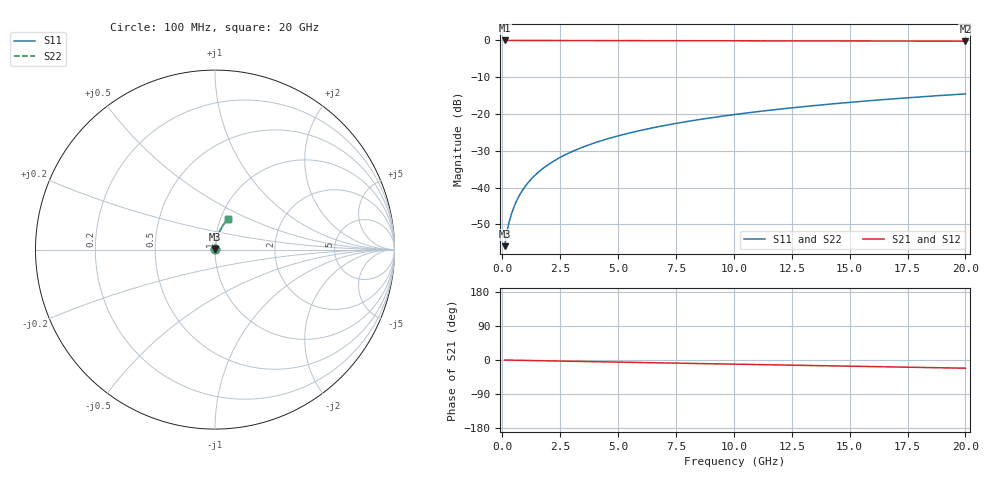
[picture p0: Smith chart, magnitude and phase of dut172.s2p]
! Touchstone file exported from HFSS 2026.1.0
!  File:  C:/ffzhzh/LocalFiles/Ansys_Project_Files/temp_train_BSMRDL_172_1782987016_40604.aedt
!  Generated:  06:11:30 PM Jul  2, 2026
!  Design:  BSMRDL
!  Project:  temp_train_BSMRDL_172_1782987016_40604
! Variables:
!  h_bsmrdl = 4.59um
!  h_ox = 20um
!  h_rdl = 5um
!  h_sub = 80um
!  h_tmrdl = 5um
!  h_tsv = 80um
!  h_via = 3um
!  l_bsmrdl = 301.66um
!  l_sub = 701.66um
!  l_tmrdl = 200um
!  m_sub = 200um
!  pitch = 47.98um
!  r_tsv = 6um
!  s_tmrdl = 10um
!  w_bsmrdl = 25.23um
!  w_sub = 500um
!  w_tmrdl = 12um
!  x_tsv_center1 = 206um
!  x_tsv_center2 = 532.89um
!  x_tsv_center3 = 744.89um
!  x_tsv_center4 = 1071.78um
!  x_tsv_center5 = 1283.78um
!  x_tsv_center6 = 1610.67um
# GHz S MA R 50.000000
! Terminal data exported
! Port[1] = BSM_RDL1_1_T1
! Port[2] = BSM_RDL1_1_T2
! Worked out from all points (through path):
!   200 points, 100 MHz to 20 GHz, reference 50 ohm
!   highest |S21| = -0.01 dB at 100 MHz (marker M1); lowest = -0.2 dB at 20 GHz (marker M2)
!   group delay of S21, straight-line fit = 3 ps
!   lowest |S11| = -55.9 dB at 100 MHz (marker M3), VSWR 1.00, Z = 50.1 + j0.114 ohm
!   |S11| at or under -10 dB: start of sweep to end of sweep
!   |S22| runs from -55.9 to -14.5 dB; largest |S21 - S12| = 4.1e-15
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0.1  0.001597 45.6  0.9989 -0.1  0.9989 -0.1  0.001597 45.6
! Gamma 0 0 0 0
! Port Impedance 50 0 50 0
0.2  0.002495 61.1  0.9988 -0.2  0.9988 -0.2  0.002495 61.1
0.3  0.003441 68.5  0.9987 -0.3  0.9987 -0.3  0.003441 68.5
0.4  0.004416 72.9  0.9987 -0.5  0.9987 -0.5  0.004416 72.9
0.5  0.005409 75.7  0.9986 -0.6  0.9986 -0.6  0.005409 75.6
0.6  0.006414 77.6  0.9986 -0.7  0.9986 -0.7  0.006414 77.6
0.8  0.008442 79.9  0.9985 -0.9  0.9985 -0.9  0.008442 79.9
1.1  0.0115 81.7  0.9984 -1.2  0.9984 -1.2  0.0115 81.7
1.3  0.01355 82.3  0.9984 -1.5  0.9984 -1.5  0.01355 82.3
1.5  0.01559 82.7  0.9983 -1.7  0.9983 -1.7  0.01559 82.7
1.8  0.01864 83.0  0.9982 -2.0  0.9982 -2.0  0.01864 83.0
2.1  0.02168 83.1  0.998 -2.4  0.998 -2.4  0.02168 83.1
2.7  0.02772 83.0  0.9977 -3.0  0.9977 -3.0  0.02772 83.0
3.5  0.03569 82.5  0.9971 -3.9  0.9971 -3.9  0.03569 82.5
4.2  0.04259 81.9  0.9966 -4.7  0.9966 -4.7  0.04259 81.9
5  0.05041 81.2  0.9959 -5.6  0.9959 -5.6  0.05041 81.2
6.8  0.06779 79.6  0.9943 -7.5  0.9943 -7.5  0.06779 79.6
8.3  0.08208 78.2  0.9928 -9.2  0.9928 -9.2  0.08208 78.2
10.1  0.099 76.4  0.9908 -11.1  0.9908 -11.1  0.099 76.4
13.4  0.1294 73.2  0.9867 -14.7  0.9867 -14.7  0.1294 73.2
16.7  0.159 69.9  0.9818 -18.2  0.9818 -18.2  0.159 69.9
20  0.1876 66.5  0.9763 -21.7  0.9763 -21.7  0.1876 66.5
